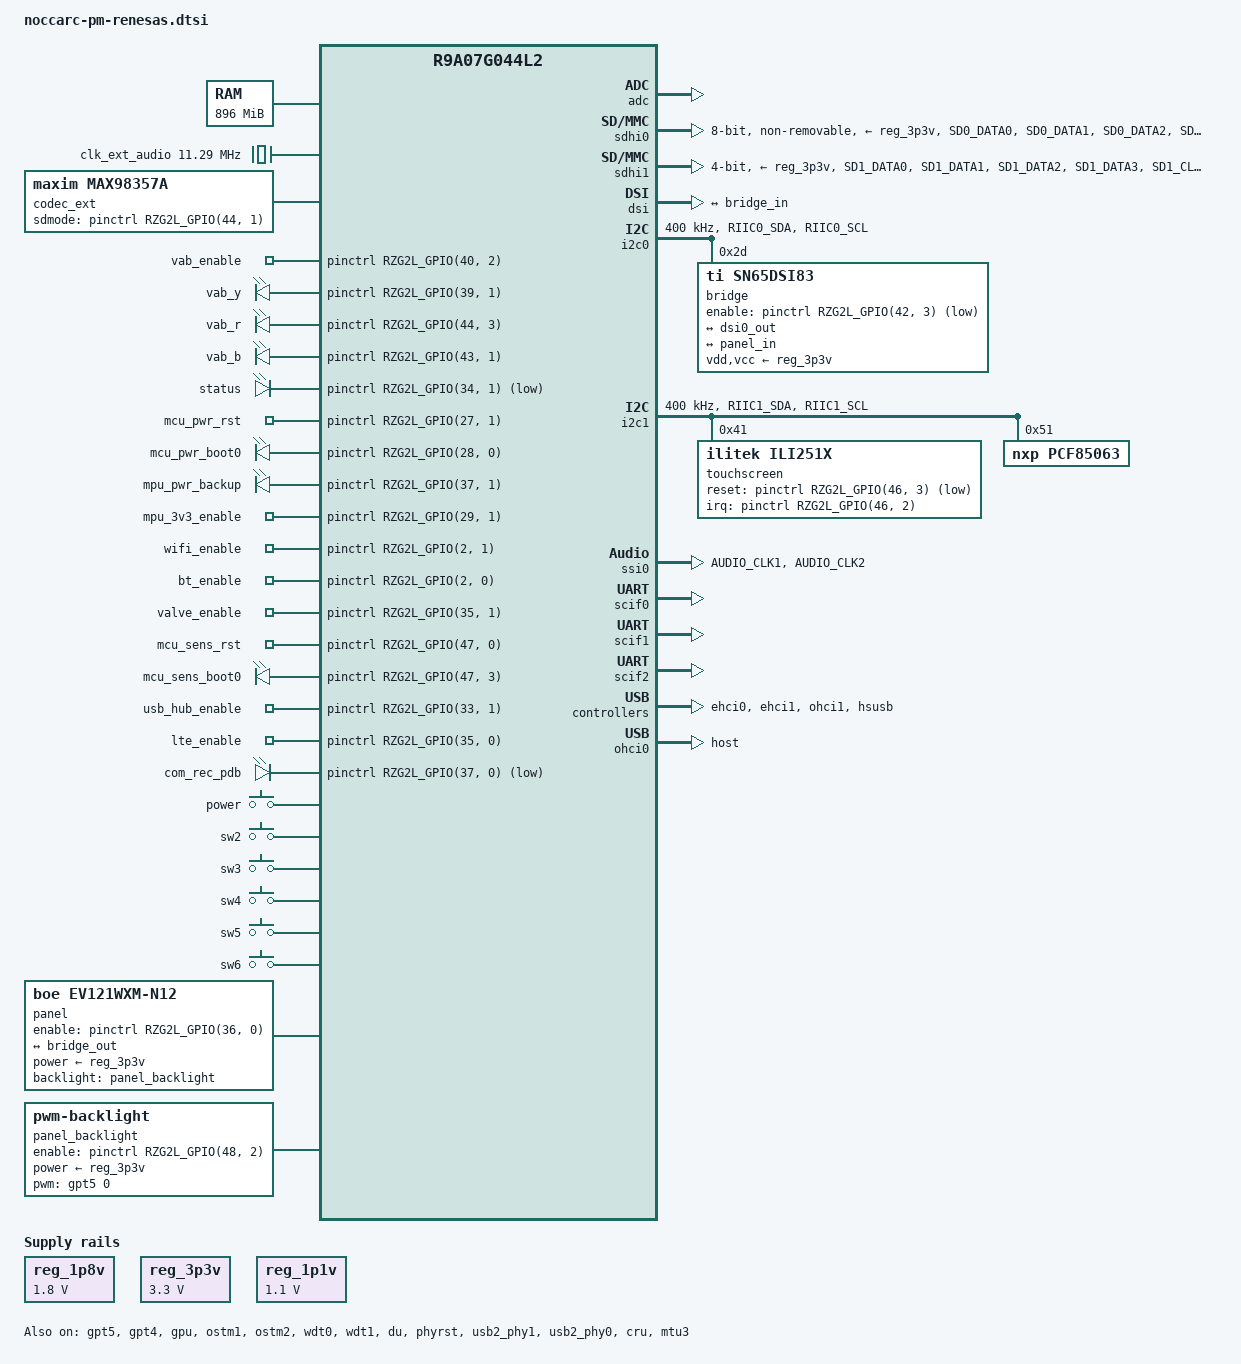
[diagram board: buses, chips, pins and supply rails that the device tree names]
// SPDX-License-Identifier: (GPL-2.0-only OR BSD-2-Clause)
/*
 * Device Tree Source for the RZ/{G2L,V2L} SMARC SOM common parts
 *
 * Copyright (C) 2022 MYiR Electronics Corp.
 */

#include "r9a07g044l2.dtsi"
#include <dt-bindings/gpio/gpio.h>
#include <dt-bindings/pinctrl/rzg2l-pinctrl.h>
#include <dt-bindings/input/input.h>

/ {

	aliases {

		serial0 = &scif0;
		serial1 = &scif1;
		serial2 = &scif2;

		i2c0 = &i2c0;
		i2c1 = &i2c1;

		mmc0 = &sdhi0;
		mmc1 = &sdhi1;
	};

        chosen {
                bootargs = "ignore_loglevel";
                stdout-path = "serial0:115200n8";
        };

	memory@48000000 {
		device_type = "memory";
		/* first 128MB is reserved for secure area. */
		reg = <0x0 0x48000000 0x0 0x38000000>;
	};

	reserved-memory {
		#address-cells = <2>;
		#size-cells = <2>;
		ranges;

		global_cma: linux,cma@58000000 {
			compatible = "shared-dma-pool";
			linux,cma-default;
			reusable;
			reg = <0x0 0x58000000 0x0 0x10000000>;
		};
		mmp_reserved: linux,multimedia {
			compatible = "shared-dma-pool";
			reusable;
			reg = <0x00000000 0x68000000 0x0 0x8000000>;
		};
	};

	mmngr {
		compatible = "renesas,mmngr";
		memory-region = <&mmp_reserved>;
	};

	mmngrbuf {
		compatible = "renesas,mmngrbuf";
	};

	vspm_if {
		compatible = "renesas,vspm_if";
	};
	vring-ctl0@43000000 {
                compatible = "vring_uio";
                reg = <0x0 0x43000000 0x0 0x100000>;
                no-map;
        };

        vring-ctl1@43100000 {
                compatible = "vring_uio";
                reg = <0x0 0x43100000 0x0 0x100000>;
                no-map;
        };
	vring-shm0@43200000 {
                compatible = "shm_uio";
                reg = <0x0 0x43200000 0x0 0x300000>;
                no-map;
        };

        vring-shm1@43500000 {
                compatible = "shm_uio";
                reg = <0x0 0x43500000 0x0 0x300000>;
                no-map;
        };

		rsctbl@42f00000 {
                compatible = "shm_uio";
                reg = <0x0 0x42f00000 0x0 0x1000>;
                no-map;
        };

        mhu-shm@42f01000 {
                compatible = "shm_uio";
                reg = <0x0 0x42f01000 0x0 0x1000>;
                no-map;
        };

        mbox-uio@10400000 {
                compatible = "mbox_uio";
                reg = <0x0 0x10400000 0x0 0x1000>;
                interrupt-parent = <&gic>;
                interrupts = <GIC_SPI 75 IRQ_TYPE_LEVEL_HIGH>;
                status = "okay";
        };

	reg_1p8v: regulator0 {
		compatible = "regulator-fixed";
		regulator-name = "fixed-1.8V";
		regulator-min-microvolt = <1800000>;
		regulator-max-microvolt = <1800000>;
		regulator-boot-on;
		regulator-always-on;
	};

	reg_3p3v: regulator1 {
		compatible = "regulator-fixed";
		regulator-name = "fixed-3.3V";
		regulator-min-microvolt = <3300000>;
		regulator-max-microvolt = <3300000>;
		regulator-boot-on;
		regulator-always-on;
	};

	reg_1p1v: regulator-vdd-core {
		compatible = "regulator-fixed";
		regulator-name = "fixed-1.1V";
		regulator-min-microvolt = <1100000>;
		regulator-max-microvolt = <1100000>;
		regulator-boot-on;
		regulator-always-on;
	};


	x1_clk: x1-clock {
			compatible = "fixed-clock";
			#clock-cells = <0>;
			clock-frequency = <24000000>;
	};

	clk_ext_audio: clk_ext_audio {
		compatible = "fixed-clock";
		#clock-cells = <0>;
		clock-frequency = <11289600>;
	};

	codec_ext: max98357a@0 {
		compatible = "maxim,max98357a";
		#sound-dai-cells = <0>;
		sdmode-gpios= <&pinctrl RZG2L_GPIO(44, 1) GPIO_ACTIVE_HIGH>;
	};

	leds {
	compatible = "gpio-leds";

	gpio0 {
		gpios = <&pinctrl RZG2L_GPIO(40, 2) GPIO_ACTIVE_HIGH>; //98
		label = "vab_enable";
		default-state = "off";
		linux,default-trigger = "none";
	};
	led1 {
		gpios = <&pinctrl RZG2L_GPIO(39, 1) GPIO_ACTIVE_HIGH>; // 97
		label = "vab_y";
		default-state = "off";
		linux,default-trigger = "none";
	};
	led2 {
		gpios = <&pinctrl RZG2L_GPIO(44, 3) GPIO_ACTIVE_HIGH>;  //96
		label = "vab_r";
		default-state = "off";
		linux,default-trigger = "none";
	};
	led3 {
		gpios = <&pinctrl RZG2L_GPIO(43, 1) GPIO_ACTIVE_HIGH>; //95
		label = "vab_b";
		default-state = "off";
		linux,default-trigger = "none";
	};
	led4 {
		gpios = <&pinctrl RZG2L_GPIO(34, 1) GPIO_ACTIVE_LOW>; //38
		label = "status";
		default-state = "on";
		linux,default-trigger = "heartbeat";
	};
	


	gpio1 {
		gpios = <&pinctrl RZG2L_GPIO(27, 1) GPIO_ACTIVE_HIGH>; //22
		label = "mcu_pwr_rst";
		default-state = "off";
		linux,default-trigger = "none";
	};
	gpio2 {
		gpios = <&pinctrl RZG2L_GPIO(28, 0) GPIO_ACTIVE_HIGH>; // 23
		label = "mcu_pwr_boot0";
		default-state = "off";
		linux,default-trigger = "none";
	};
	gpio3 {
		gpios = <&pinctrl RZG2L_GPIO(37, 1) GPIO_ACTIVE_HIGH>; // 25
		label = "mpu_pwr_backup";
		default-state = "off";
		linux,default-trigger = "none";
	};
	gpio4 {
		gpios = <&pinctrl RZG2L_GPIO(29, 1) GPIO_ACTIVE_HIGH>; // 26
		label = "mpu_3v3_enable";
		default-state = "on";
		linux,default-trigger = "none";
	};
	gpio5 {
		gpios = <&pinctrl RZG2L_GPIO(2, 1) GPIO_ACTIVE_HIGH>;  // 127
		label = "wifi_enable";
		default-state = "on";
		linux,default-trigger = "none";
	};
	gpio6 {
		gpios = <&pinctrl RZG2L_GPIO(2, 0) GPIO_ACTIVE_HIGH>; // 128
		label = "bt_enable";
		default-state = "on";
		linux,default-trigger = "none";
	};
	gpio7 {
		gpios = <&pinctrl RZG2L_GPIO(35, 1) GPIO_ACTIVE_HIGH>;  //36
		label = "valve_enable";
		default-state = "off";
		linux,default-trigger = "none";
	};
	gpio9 {
		gpios = <&pinctrl RZG2L_GPIO(47, 0) GPIO_ACTIVE_HIGH>;  //113
		label = "mcu_sens_rst";
		default-state = "off";
		linux,default-trigger = "none";
	};
	gpio10 {
		gpios = <&pinctrl RZG2L_GPIO(47, 3) GPIO_ACTIVE_HIGH>;  //114
		label = "mcu_sens_boot0";
		default-state = "off";
		linux,default-trigger = "none";
	};

	gpio11 {
		gpios = <&pinctrl RZG2L_GPIO(33, 1) GPIO_ACTIVE_HIGH>;  //34
		label = "usb_hub_enable";
		default-state = "on";
		linux,default-trigger = "none";
	};

	gpio12 {
		gpios = <&pinctrl RZG2L_GPIO(35, 0) GPIO_ACTIVE_HIGH>;  //34
		label = "lte_enable";
		default-state = "on";
		linux,default-trigger = "none";
	};

	gpio13 {
		gpios = <&pinctrl RZG2L_GPIO(37, 0) GPIO_ACTIVE_LOW>; //24
		label = "com_rec_pdb";
		default-state = "on";
		linux,default-trigger = "none";
	};

	};

	keys {
		compatible = "gpio-keys";
		sw-1 {
			gpio = <&pinctrl RZG2L_GPIO(20, 1) GPIO_ACTIVE_HIGH>;
			linux,code = <KEY_1>;
			label = "power";
			wakeup-source;
			debounce-interval=<20>;
		};
       sw-2 {
			gpio = <&pinctrl RZG2L_GPIO(20, 0) GPIO_ACTIVE_LOW>;  //11
			linux,code = <KEY_2>;
			label = "sw2";
			debounce-interval=<20>;
		};
        sw-3 {
			gpio = <&pinctrl RZG2L_GPIO(25, 0) GPIO_ACTIVE_LOW>; //17
			linux,code = <KEY_3>;
			label = "sw3";
			debounce-interval=<20>;
		};
        sw-4 {
			gpio = <&pinctrl RZG2L_GPIO(25, 1) GPIO_ACTIVE_LOW>; //18
			linux,code = <KEY_4>;
			label = "sw4";
			debounce-interval=<20>;
		};
        sw-5 {
			gpio = <&pinctrl RZG2L_GPIO(26, 0) GPIO_ACTIVE_LOW>; //19
			linux,code = <KEY_5>;
			label = "sw5";
			debounce-interval=<20>;
		};
        sw-6 {
			gpio = <&pinctrl RZG2L_GPIO(26, 1) GPIO_ACTIVE_LOW>; //20
			linux,code = <KEY_6>;
			label = "sw6";
			debounce-interval=<20>;
		};
	};

    sound_rzg2l: sound {
		compatible = "simple-audio-card";
		simple-audio-card,name = "max98357a";
		simple-audio-card,format = "i2s";
		simple-audio-card,bitclock-master = <&cpu_dai>;
		simple-audio-card,frame-master = <&cpu_dai>;
		simple-audio-card,mclk-fs = <256>;

		cpu_dai: simple-audio-card,cpu {
				sound-dai = <&ssi0>;
		};

		codec_dai: simple-audio-card,codec {
            /* sound-dai = <&sgtl5000>; */
            /*clocks = <&versa3 3>;*/
            sound-dai = <&codec_ext>;
        };
		
    };

	panel {
			compatible = "boe,ev121wxm-n12";
			//compatible = "auo,b101aw03";
			backlight = <&panel_backlight>;
			enable-gpios = <&pinctrl RZG2L_GPIO(36, 0) GPIO_ACTIVE_HIGH>;
			power-supply = <&reg_3p3v>;
			status = "okay";
			port {
				panel_in: endpoint {
					remote-endpoint = <&bridge_out>;
				};
			};
		};
	
		panel_backlight: panel-backlight {
			 compatible = "pwm-backlight";
			 pwms = <&gpt5 0 500000>;	//2KHz backlit frequency
			 enable-gpios = <&pinctrl RZG2L_GPIO(48, 2) GPIO_ACTIVE_HIGH>;
			 brightness-levels = <0 2048>;
			 num-interpolated-steps = <2048>;
			 default-brightness-level = <1000>;
			 power-supply = <&reg_3p3v>;
			 status = "okay";
		};




};

&gpt5 {
    pinctrl-0 = <&gpt5_pins>;
	pinctrl-names = "default";
	channel = "channel_B";
	status = "okay";
};

&gpt4 {
    pinctrl-0 = <&gpt4_pins>;
	pinctrl-names = "default";
	channel = "channel_A";
	status = "okay";
};

&adc {
	status = "okay";
};


&extal_clk {
	clock-frequency = <24000000>;
};

&gpu {
	mali-supply = <&reg_1p1v>;
	status = "okay";
};

&ostm1 {
	status = "okay";
};

&ostm2 {
	status = "okay";
};

&pinctrl {


	i2c0_pins: i2c0 {
			pins = "RIIC0_SDA", "RIIC0_SCL";
			input-enable;
	};

	i2c1_pins: i2c1 {
			pins = "RIIC1_SDA", "RIIC1_SCL";
			input-enable;
	};

	qspi0_pins: qspi0 {
		qspi0-data {
			pins = "QSPI0_IO0", "QSPI0_IO1", "QSPI0_IO2", "QSPI0_IO3";
			power-source = <1800>;
		};

		qspi0-ctrl {
			pins = "QSPI0_SPCLK", "QSPI0_SSL", "QSPI_RESET#";
			power-source = <1800>;
		};
	};

	sdhi0_emmc_pins: sd0emmc {
		sd0_emmc_data {
			pins = "SD0_DATA0", "SD0_DATA1", "SD0_DATA2", "SD0_DATA3",
                   "SD0_DATA4", "SD0_DATA5", "SD0_DATA6", "SD0_DATA7";
			power-source = <3300>;
		};

		sd0_emmc_ctrl {
			pins = "SD0_CLK", "SD0_CMD";
			power-source = <3300>;
		};

		sd0_emmc_rst {
			pins = "SD0_RST#";
			power-source = <3300>;
		};
	};

	sdhi1_pins: sd1 {
		sd1_data {
			pins = "SD1_DATA0", "SD1_DATA1", "SD1_DATA2", "SD1_DATA3";
			power-source  = <3300>;
		};

		sd1_ctrl {
			pins = "SD1_CLK", "SD1_CMD";
			power-source  = <3300>;
		};

		sd1_mux {
			groups = "sdhi1_cd_b";
			function = "sdhi1";
		};
	};

	sdhi1_pins_uhs: sd1_uhs {
		sd1_data_uhs {
			pins = "SD1_DATA0", "SD1_DATA1", "SD1_DATA2", "SD1_DATA3";
			power-source  = <1800>;
		};

		sd1_ctrl_uhs {
			pins = "SD1_CLK", "SD1_CMD";
			power-source  = <1800>;
		};

		sd1_mux_uhs {
			groups = "sdhi1_cd_b";
			function = "sdhi1";
		};
	};

	sound_clk_pins: sound_clk {
			pins = "AUDIO_CLK1", "AUDIO_CLK2";
			input-enable;
	};

	ssi0_pins: ssi0 {
			pinmux = <RZG2L_PORT_PINMUX(45, 0, 1)>, /* BCK */
						<RZG2L_PORT_PINMUX(45, 1, 1)>, /* RCK */
						<RZG2L_PORT_PINMUX(45, 2, 1)>, /* TXD */
						<RZG2L_PORT_PINMUX(45, 3, 1)>; /* RXD */
	};

	scif0_pins: scif0 {
			pinmux = <RZG2L_PORT_PINMUX(38, 0, 1)>, /* TxD */
						<RZG2L_PORT_PINMUX(38, 1, 1)>; /* RxD */
	};

	scif1_pins: scif1 {
			pinmux = <RZG2L_PORT_PINMUX(40, 0, 1)>, /* TxD */
						<RZG2L_PORT_PINMUX(40, 1, 1)>; /* RxD */
	};

	scif2_pins: scif2 {
			pinmux = <RZG2L_PORT_PINMUX(48, 0, 1)>, /* TxD */
						<RZG2L_PORT_PINMUX(48, 1, 1)>;/* RxD */
	};
	 gpt5_pins: gpt5 {
                pinmux = <RZG2L_PORT_PINMUX(43, 3, 2)>; /* Channel B */
        };
	  gpt4_pins: gpt4 {
                pinmux = <RZG2L_PORT_PINMUX(43, 0, 2)>; /* Channel A */
        };


	
};

&sbc {
	pinctrl-0 = <&qspi0_pins>;
	pinctrl-names = "default";
	status = "disabled";

	flash@0 {
		compatible = "micron,mt25qu512a", "jedec,spi-nor";
		reg = <0>;
		m25p,fast-read;
		spi-max-frequency = <50000000>;
		spi-rx-bus-width = <4>;
		spi-tx-bus-width = <4>;

		partitions {
			compatible = "fixed-partitions";
			#address-cells = <1>;
			#size-cells = <1>;

			partition@0000000 {
				label = "u-boot";
				reg = <0x00000000 0x80000>;
				read-only;
			};
			partition@80000 {
				label = "env";
				reg = <0x00080000 0x40000>;
				read-only;
			};
			partition@C0000 {
				label = "dtb";
				reg = <0x000C0000 0x40000>;
				read-only;
			};
			partition@800000 {
				label = "rootfs";
				/* 16MB @ 8MB offset in SPI Flash */
				reg = <0x00800000 0x01000000>;
			};
//			partition@2000000 {
//				label = "test-area";
//				reg = <0x02000000 0x00100000>;
//			};
		};
	};
};

/*EMMC*/
&sdhi0 {
	pinctrl-0 = <&sdhi0_emmc_pins>;
	pinctrl-1 = <&sdhi0_emmc_pins>;
	pinctrl-names = "default", "state_uhs";

	vmmc-supply = <&reg_3p3v>;
	vqmmc-supply = <&reg_1p8v>;
	bus-width = <8>;
	mmc-hs200-1_8v;
	non-removable;
	fixed-emmc-driver-type = <1>;
	status = "okay";
};

/*sdcard*/
&sdhi1 {
	pinctrl-0 = <&sdhi1_pins>;
	pinctrl-1 = <&sdhi1_pins_uhs>;
	pinctrl-names = "default", "state_uhs";
	vmmc-supply = <&reg_3p3v>;
        vqmmc-supply = <&reg_3p3v>;
	cd-gpios = <&pinctrl RZG2L_GPIO(19, 0) GPIO_ACTIVE_LOW>;
	bus-width = <4>;
//	sd-uhs-sdr50;
//	sd-uhs-sdr104;
//	sd-uhs-ddr50;
	disable-wp;
	status = "okay";
};

&wdt0 {
	status = "okay";
	timeout-sec = <60>;
};

&wdt1 {
	status = "okay";
	timeout-sec = <60>;
};


&du {
    status = "okay";
	
};

&dsi {
	status = "okay";
	ports {
		
		port@1 {
			dsi0_out: endpoint {
				remote-endpoint = <&bridge_in>;
				data-lanes = <1 2>;
				attach-bridge;
			};
		};
	};
};

&i2c0 {
	pinctrl-0 = <&i2c0_pins>;
	pinctrl-names = "default";

	clock-frequency = <400000>;
	status = "okay";
	bridge@2d {
			compatible = "ti,sn65dsi83";
			status = "okay";
			reg = <0x2d>;
			vdd-supply = <&reg_3p3v>;
			vcc-supply = <&reg_3p3v>;
			// Reset pin addition pending @deepak
			enable-gpios = <&pinctrl RZG2L_GPIO(42, 3) GPIO_ACTIVE_LOW>;
			ports {
				#address-cells = <1>;
				#size-cells = <0>;
				port@0 {
					reg = <0>;
					bridge_in: endpoint {
						remote-endpoint = <&dsi0_out>;
						data-lanes = <1 2>;
					};
				};
				port@1 {
					reg = <1>;
					bridge_out: endpoint {
					   remote-endpoint = <&panel_in>;
					};
				};
			};

	};

};

&i2c1 {
	pinctrl-0 = <&i2c1_pins>;
	pinctrl-names = "default";
	clock-frequency = <400000>;
	status = "okay";

	// polytouch: eegalax-ts@41 {
	// 		compatible = "hid-over-i2c";
	// 		reg = <0x41>;
	// 		hid-descr-addr = <0x000f>;
	// 		interrupt-parent = <&pinctrl>;
    //         interrupts = <RZG2L_GPIO(46, 2) IRQ_TYPE_EDGE_FALLING>;
    // 		reset-gpios = <&pinctrl RZG2L_GPIO(46, 3) GPIO_ACTIVE_LOW>;


	// 		touchscreen-size-x = <1280>;
	// 		touchscreen-size-y = <800>;
	// 		touchscreen-inverted-x;
	// 		touchscreen-inverted-y;
	// 		status="okay";
	// 	};
	touchscreen@41 {
                compatible = "ilitek,ili251x";
                reg = <0x41>;
                interrupt-parent = <&pinctrl>;
				touchscreen-inverted-x;
		 		touchscreen-inverted-y;
				touchscreen-size-x = <1280>;
				touchscreen-size-y = <800>;
                interrupts = <RZG2L_GPIO(46, 2) IRQ_TYPE_EDGE_FALLING>;
                reset-gpios = <&pinctrl RZG2L_GPIO(46, 3) GPIO_ACTIVE_LOW>;
				max-fingers = <1>;
        };

    // ft5x06: ft5x06@38 {
    //     compatible = "edt,edt-ft5406", "edt,edt-ft5x06";
    //         reg = <0x38>;
    //         interrupt-parent = <&pinctrl>;
    //         interrupts = <RZG2L_GPIO(44, 0) IRQ_TYPE_EDGE_FALLING>;
    //         reset-gpios = <&pinctrl RZG2L_GPIO(44, 1) GPIO_ACTIVE_LOW>;
    //         touchscreen-size-x=<800>;
    //         touchscreen-size-y=<480>;
    // };
	//for RTC 
	pcf85063: rtc@51 {
		compatible = "nxp,pcf85063";
		reg = <0x51>;
		quartz-load-femtofarads = <12500>;

			clock {
				compatible = "fixed-clock";
				#clock-cells = <0>;
				clock-frequency = <32768>;
			};
};



};

&audio_clk1{
	clock-frequency = <11289600>;
};

&audio_clk2{
	clock-frequency = <12288000>;
};

&ssi0 {
	pinctrl-0 = <&ssi0_pins>;
	pinctrl-0 = <&ssi0_pins &sound_clk_pins>;
	pinctrl-names = "default";
	status = "okay";
	
};

/* console */
&scif0 {
	pinctrl-0 = <&scif0_pins>;
	pinctrl-names = "default";
	status = "okay";
};

&scif1 {
	pinctrl-0 = <&scif1_pins>;
	pinctrl-names = "default";
	status = "okay";
};

&scif2 {
        pinctrl-0 = <&scif2_pins>;
        pinctrl-names = "default";
        status = "okay";
};

&ehci0 {
	memory-region = <&global_cma>;
	status="okay";
};

&ohci0 {
	memory-region = <&global_cma>;
	dr_mode = "host";
	status = "okay";
};

&ehci1 {
	memory-region = <&global_cma>;
	status = "okay";
};

&ohci1 {
	memory-region = <&global_cma>;
	status = "okay";
};

&hsusb {
        status = "okay";
};
&phyrst {
        status = "okay";
};
&usb2_phy1 {
        status = "okay";
};

&usb2_phy0 {
        status = "okay";
};


&cru {
	status = "okay";
};

&mtu3 {
        status = "okay";
};
